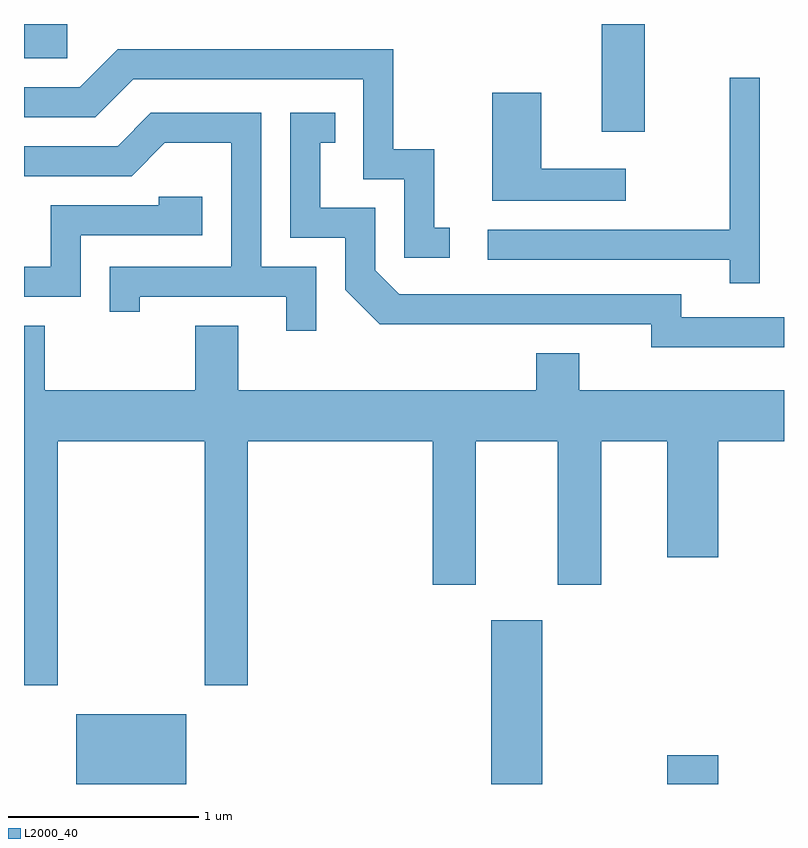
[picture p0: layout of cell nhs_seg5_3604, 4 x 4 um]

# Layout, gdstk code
import gdstk
lib = gdstk.Library(unit=1e-6, precision=1e-09)
def R(c, l, rs):  # rectangles x0, y0, x1, y1
    for r in rs: c.add(gdstk.rectangle(r[:2], r[2:], *l))
def P(c, l, *ps):  # polygons
    for p in ps: c.add(gdstk.Polygon(p, *l))
L2000_40 = (2000, 40)

nhs_seg5_3604 = lib.new_cell('nhs_seg5_3604')
R(nhs_seg5_3604, L2000_40, [(291.886,1486.072,292.464,1486.439), (294.071,1486.072,294.339,1486.934), (294.996,1486.072,295.264,1486.224), (294.651,1489.506,294.879,1490.072), (291.611,1489.891,291.839,1490.072)])
P(nhs_seg5_3604, L2000_40, [(293.853,1488.999),(293.769,1488.999),(293.769,1489.414),(293.554,1489.414),(293.554,1489.939),(292.104,1489.939),(291.904,1489.739),(291.611,1489.739),(291.611,1489.581),(291.987,1489.581),(292.187,1489.781),(293.396,1489.781),(293.396,1489.256),(293.611,1489.256),(293.611,1488.841),(293.853,1488.841)],
  [(295.484,1489.788),(295.326,1489.788),(295.326,1488.989),(294.053,1488.989),(294.053,1488.831),(295.326,1488.831),(295.326,1488.708),(295.484,1488.708)],
  [(294.778,1489.309),(294.334,1489.309),(294.334,1489.709),(294.076,1489.709),(294.076,1489.141),(294.778,1489.141)],
  [(293.149,1488.794),(292.859,1488.794),(292.859,1489.604),(292.279,1489.604),(292.104,1489.429),(291.611,1489.429),(291.611,1489.271),(292.177,1489.271),(292.352,1489.446),(292.701,1489.446),(292.701,1488.794),(292.061,1488.794),(292.061,1488.558),(292.219,1488.558),(292.219,1488.636),(292.991,1488.636),(292.991,1488.458),(293.149,1488.458)],
  [(295.611,1488.529),(295.069,1488.529),(295.069,1488.649),(293.587,1488.649),(293.459,1488.777),(293.459,1489.104),(293.169,1489.104),(293.169,1489.446),(293.248,1489.446),(293.248,1489.604),(293.011,1489.604),(293.011,1488.946),(293.301,1488.946),(293.301,1488.674),(293.484,1488.491),(294.911,1488.491),(294.911,1488.371),(295.611,1488.371)],
  [(291.909,1488.961),(292.549,1488.961),(292.549,1489.164),(292.321,1489.164),(292.321,1489.119),(291.751,1489.119),(291.751,1488.794),(291.611,1488.794),(291.611,1488.636),(291.909,1488.636)],
  [(294.306,1488.339),(294.306,1488.144),(292.739,1488.144),(292.739,1488.484),(292.511,1488.484),(292.511,1488.144),(291.719,1488.144),(291.719,1488.484),(291.611,1488.484),(291.611,1486.591),(291.789,1486.591),(291.789,1487.876),(292.561,1487.876),(292.561,1486.591),(292.789,1486.591),(292.789,1487.876),(293.761,1487.876),(293.761,1487.121),(293.989,1487.121),(293.989,1487.876),(294.421,1487.876),(294.421,1487.121),(294.649,1487.121),(294.649,1487.876),(294.996,1487.876),(294.996,1487.266),(295.264,1487.266),(295.264,1487.876),(295.611,1487.876),(295.611,1488.144),(294.534,1488.144),(294.534,1488.339)])

lib.write_gds('nhs_seg5_3604.gds')
